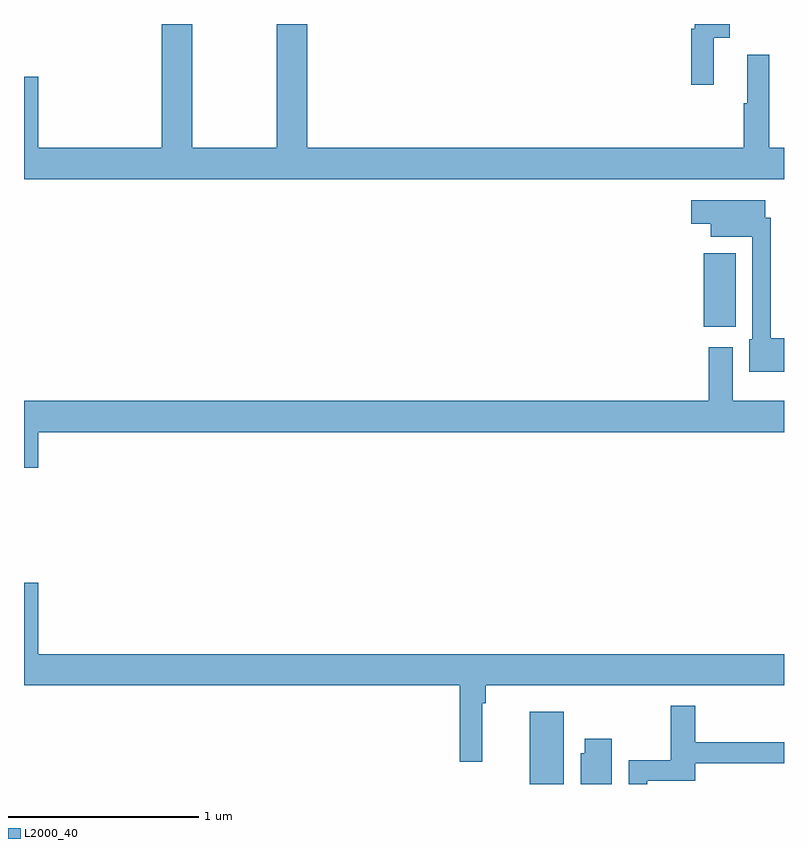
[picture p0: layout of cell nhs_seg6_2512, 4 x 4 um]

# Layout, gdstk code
import gdstk
lib = gdstk.Library(unit=1e-6, precision=1e-09)
def R(c, l, rs):  # rectangles x0, y0, x1, y1
    for r in rs: c.add(gdstk.rectangle(r[:2], r[2:], *l))
def P(c, l, *ps):  # polygons
    for p in ps: c.add(gdstk.Polygon(p, *l))
L2000_40 = (2000, 40)

nhs_seg6_2512 = lib.new_cell('nhs_seg6_2512')
R(nhs_seg6_2512, L2000_40, [(263.663,929.5,263.842,929.881), (264.578,931.907,264.745,932.293)])
P(nhs_seg6_2512, L2000_40, [(265,932.848),(264.923,932.848),(264.923,933.337),(264.806,933.337),(264.806,933.084),(264.787,933.084),(264.787,932.848),(262.49,932.848),(262.49,933.5),(262.33,933.5),(262.33,932.848),(261.885,932.848),(261.885,933.5),(261.725,933.5),(261.725,932.848),(261.076,932.848),(261.076,933.223),(261,933.223),(261,932.684),(265,932.684)],
  [(264.629,933.428),(264.715,933.428),(264.715,933.5),(264.531,933.5),(264.531,933.476),(264.511,933.476),(264.511,933.18),(264.629,933.18)],
  [(265,931.846),(264.93,931.846),(264.93,932.479),(264.901,932.479),(264.901,932.572),(264.513,932.572),(264.513,932.45),(264.614,932.45),(264.614,932.381),(264.834,932.381),(264.834,931.842),(264.818,931.842),(264.818,931.67),(265,931.67)],
  [(261.076,931.352),(265,931.352),(265,931.516),(264.73,931.516),(264.73,931.798),(264.605,931.798),(264.605,931.516),(261,931.516),(261,931.164),(261.076,931.164)],
  [(263.412,929.924),(263.429,929.924),(263.429,930.02),(265,930.02),(265,930.184),(261.076,930.184),(261.076,930.559),(261,930.559),(261,930.02),(263.293,930.02),(263.293,929.616),(263.412,929.616)],
  [(264.279,929.517),(264.533,929.517),(264.533,929.609),(264.81,929.609),(264.81,929.608),(265,929.608),(265,929.719),(264.533,929.719),(264.533,929.911),(264.405,929.911),(264.405,929.626),(264.183,929.626),(264.183,929.5),(264.279,929.5)],
  [(264.094,929.737),(263.951,929.737),(263.951,929.661),(263.93,929.661),(263.93,929.5),(264.094,929.5)])

lib.write_gds('nhs_seg6_2512.gds')
